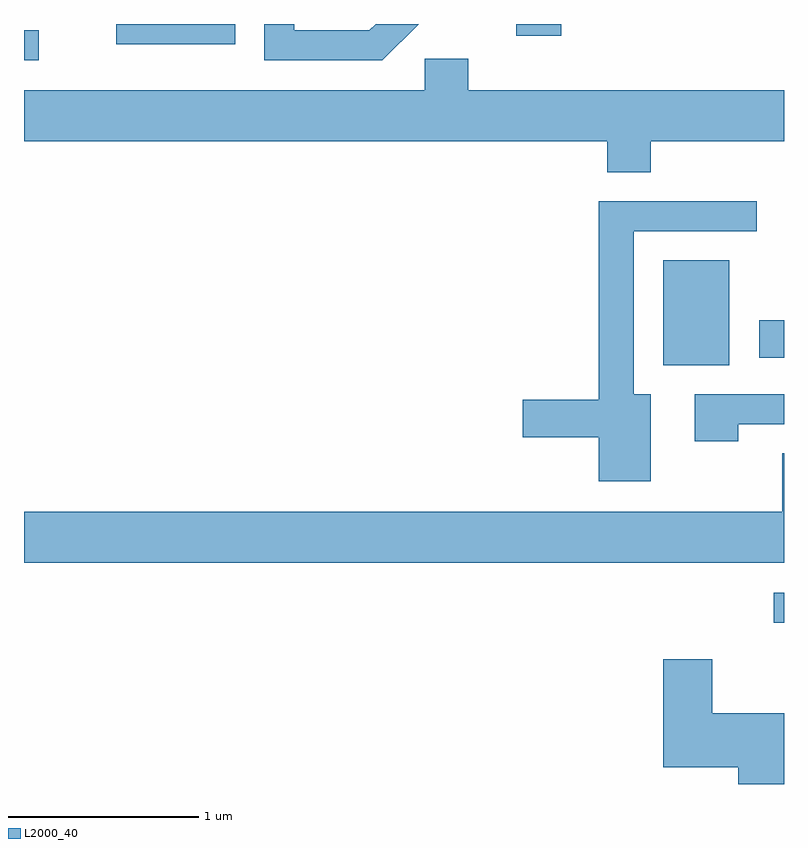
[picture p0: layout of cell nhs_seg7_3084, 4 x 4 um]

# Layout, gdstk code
import gdstk
lib = gdstk.Library(unit=1e-6, precision=1e-09)
def R(c, l, rs):  # rectangles x0, y0, x1, y1
    for r in rs: c.add(gdstk.rectangle(r[:2], r[2:], *l))
def P(c, l, *ps):  # polygons
    for p in ps: c.add(gdstk.Polygon(p, *l))
L2000_40 = (2000, 40)

nhs_seg7_3084 = lib.new_cell('nhs_seg7_3084')
R(nhs_seg7_3084, L2000_40, [(283.558,1725.101,283.611,1725.259), (282.976,1726.456,283.324,1727.009), (283.481,1726.496,283.611,1726.694), (279.611,1728.061,279.688,1728.219), (280.096,1728.146,280.724,1728.252), (282.203,1728.191,282.439,1728.252)])
P(nhs_seg7_3084, L2000_40, [(281.688,1728.252),(281.462,1728.252),(281.429,1728.219),(281.034,1728.219),(281.034,1728.252),(280.876,1728.252),(280.876,1728.061),(281.497,1728.061)],
  [(282.909,1727.636),(283.611,1727.636),(283.611,1727.904),(281.949,1727.904),(281.949,1728.069),(281.721,1728.069),(281.721,1727.904),(279.611,1727.904),(279.611,1727.636),(282.681,1727.636),(282.681,1727.471),(282.909,1727.471)],
  [(282.909,1726.304),(282.819,1726.304),(282.819,1727.161),(283.468,1727.161),(283.468,1727.319),(282.636,1727.319),(282.636,1726.274),(282.236,1726.274),(282.236,1726.076),(282.636,1726.076),(282.636,1725.846),(282.909,1725.846)],
  [(283.369,1726.146),(283.611,1726.146),(283.611,1726.304),(283.141,1726.304),(283.141,1726.056),(283.369,1726.056)],
  [(283.611,1725.994),(283.601,1725.994),(283.601,1725.684),(279.611,1725.684),(279.611,1725.416),(283.611,1725.416)],
  [(283.611,1724.624),(283.234,1724.624),(283.234,1724.909),(282.976,1724.909),(282.976,1724.341),(283.371,1724.341),(283.371,1724.252),(283.611,1724.252)])

lib.write_gds('nhs_seg7_3084.gds')
